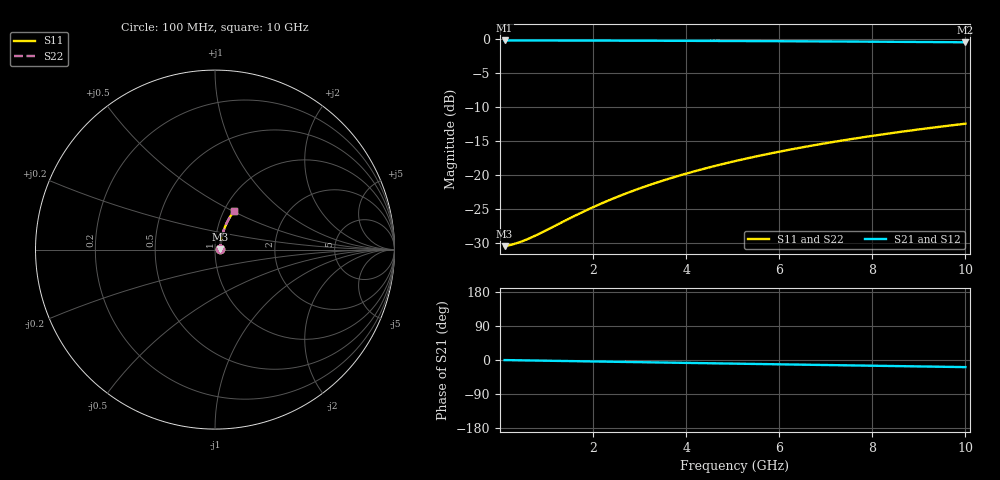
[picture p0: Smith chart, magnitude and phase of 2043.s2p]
# Hz S RI R 50.00
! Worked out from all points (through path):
!   100 points, 100 MHz to 10 GHz, reference 50 ohm
!   highest |S21| = -0.26 dB at 100 MHz (marker M1); lowest = -0.5 dB at 10 GHz (marker M2)
!   group delay of S21, straight-line fit = 5.22 ps
!   lowest |S11| = -30.5 dB at 100 MHz (marker M3), VSWR 1.06, Z = 53.1 + j0.249 ohm
!   |S11| at or under -10 dB: start of sweep to end of sweep
!   |S22| runs from -30.5 to -12.5 dB; largest |S21 - S12| = 1e-12
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1e8  0.0297 0.00234  0.9703 -0.00324  0.9703 -0.00324  0.0297 0.00234
3e8  0.0301 0.00701  0.9699 -0.0097  0.9699 -0.0097  0.0301 0.00701
4e8  0.0303 0.00935  0.9697 -0.0129  0.9697 -0.0129  0.0303 0.00935
6e8  0.0306 0.014  0.9694 -0.0194  0.9694 -0.0194  0.0306 0.014
9e8  0.0312 0.021  0.9688 -0.0291  0.9688 -0.0291  0.0312 0.021
1.5e9  0.0326 0.0349  0.9673 -0.0484  0.9673 -0.0484  0.0326 0.0349
1.8e9  0.0335 0.0419  0.9664 -0.058  0.9664 -0.058  0.0335 0.0419
2.2e9  0.0348 0.0511  0.9649 -0.0708  0.9649 -0.0708  0.0348 0.0511
2.6e9  0.0364 0.0602  0.9633 -0.0836  0.9633 -0.0836  0.0364 0.0602
3e9  0.0383 0.0694  0.9613 -0.0963  0.9613 -0.0963  0.0383 0.0694
3.4e9  0.0403 0.0784  0.9592 -0.1089  0.9592 -0.1089  0.0403 0.0784
3.8e9  0.0426 0.0874  0.9567 -0.1215  0.9567 -0.1215  0.0426 0.0874
4.2e9  0.0452 0.0963  0.9541 -0.134  0.9541 -0.134  0.0452 0.0963
4.6e9  0.0479 0.1051  0.9512 -0.1464  0.9512 -0.1464  0.0479 0.1051
5.1e9  0.0516 0.116  0.9473 -0.1618  0.9473 -0.1618  0.0516 0.116
5.5e9  0.0549 0.1246  0.9438 -0.174  0.9438 -0.174  0.0549 0.1246
5.9e9  0.0583 0.133  0.9402 -0.186  0.9402 -0.186  0.0583 0.133
6.7e9  0.0659 0.1497  0.9322 -0.2099  0.9322 -0.2099  0.0659 0.1497
7.5e9  0.0742 0.1658  0.9234 -0.2332  0.9234 -0.2332  0.0742 0.1658
8.4e9  0.0845 0.1833  0.9125 -0.2589  0.9125 -0.2589  0.0845 0.1833
9.2e9  0.0945 0.1982  0.902 -0.281  0.902 -0.281  0.0945 0.1982
1e10  0.1051 0.2124  0.8907 -0.3026  0.8907 -0.3026  0.1051 0.2124
